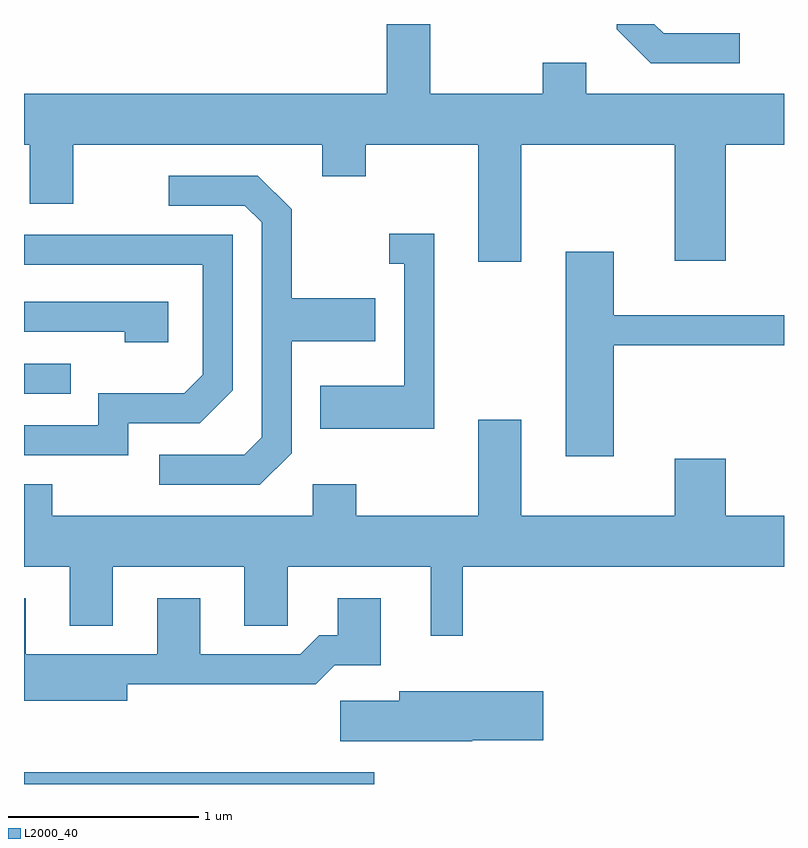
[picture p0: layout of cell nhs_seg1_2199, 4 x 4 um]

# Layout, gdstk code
import gdstk
lib = gdstk.Library(unit=1e-6, precision=1e-09)
def R(c, l, rs):  # rectangles x0, y0, x1, y1
    for r in rs: c.add(gdstk.rectangle(r[:2], r[2:], *l))
def P(c, l, *ps):  # polygons
    for p in ps: c.add(gdstk.Polygon(p, *l))
L2000_40 = (2000, 40)

nhs_seg1_2199 = lib.new_cell('nhs_seg1_2199')
R(nhs_seg1_2199, L2000_40, [(251.611,951.712,253.454,951.774), (251.611,953.766,251.858,953.924)])
P(nhs_seg1_2199, L2000_40, [(255.378,955.664),(254.977,955.664),(254.929,955.712),(254.731,955.712),(254.731,955.684),(254.909,955.506),(255.378,955.506)],
  [(253.749,955.712),(253.521,955.712),(253.521,955.344),(251.611,955.344),(251.611,955.076),(251.641,955.076),(251.641,954.766),(251.869,954.766),(251.869,955.076),(253.181,955.076),(253.181,954.911),(253.409,954.911),(253.409,955.076),(254.001,955.076),(254.001,954.461),(254.229,954.461),(254.229,955.076),(255.036,955.076),(255.036,954.466),(255.304,954.466),(255.304,955.076),(255.611,955.076),(255.611,955.344),(254.569,955.344),(254.569,955.509),(254.341,955.509),(254.341,955.344),(253.749,955.344)],
  [(253.019,953.454),(253.019,954.041),(253.459,954.041),(253.459,954.269),(253.019,954.269),(253.019,954.737),(252.842,954.914),(252.373,954.914),(252.373,954.756),(252.774,954.756),(252.861,954.669),(252.861,953.537),(252.769,953.444),(252.323,953.444),(252.323,953.286),(252.852,953.286)],
  [(253.769,954.609),(253.533,954.609),(253.533,954.451),(253.611,954.451),(253.611,953.809),(253.171,953.809),(253.171,953.581),(253.769,953.581)],
  [(252.159,953.611),(252.537,953.611),(252.709,953.784),(252.709,954.604),(251.611,954.604),(251.611,954.446),(252.551,954.446),(252.551,953.867),(252.454,953.769),(252.001,953.769),(252.001,953.599),(251.611,953.599),(251.611,953.441),(252.159,953.441)],
  [(254.714,954.021),(255.611,954.021),(255.611,954.179),(254.714,954.179),(254.714,954.514),(254.461,954.514),(254.461,953.436),(254.714,953.436)],
  [(252.369,954.249),(251.611,954.249),(251.611,954.091),(252.141,954.091),(252.141,954.036),(252.369,954.036)],
  [(253.919,952.856),(255.611,952.856),(255.611,953.124),(255.304,953.124),(255.304,953.424),(255.036,953.424),(255.036,953.124),(254.229,953.124),(254.229,953.629),(254.001,953.629),(254.001,953.124),(253.359,953.124),(253.359,953.289),(253.131,953.289),(253.131,953.124),(251.759,953.124),(251.759,953.289),(251.611,953.289),(251.611,952.856),(251.851,952.856),(251.851,952.546),(252.079,952.546),(252.079,952.856),(252.771,952.856),(252.771,952.546),(252.999,952.546),(252.999,952.856),(253.751,952.856),(253.751,952.493),(253.919,952.493)],
  [(252.154,952.236),(253.147,952.236),(253.247,952.336),(253.489,952.336),(253.489,952.689),(253.261,952.689),(253.261,952.494),(253.164,952.494),(253.064,952.394),(252.539,952.394),(252.539,952.689),(252.311,952.689),(252.311,952.394),(251.619,952.394),(251.619,952.689),(251.611,952.689),(251.611,952.151),(252.154,952.151)],
  [(253.97,951.941),(254.344,951.941),(254.344,952.199),(253.586,952.199),(253.586,952.149),(253.276,952.149),(253.276,951.936),(253.97,951.936)])

lib.write_gds('nhs_seg1_2199.gds')
